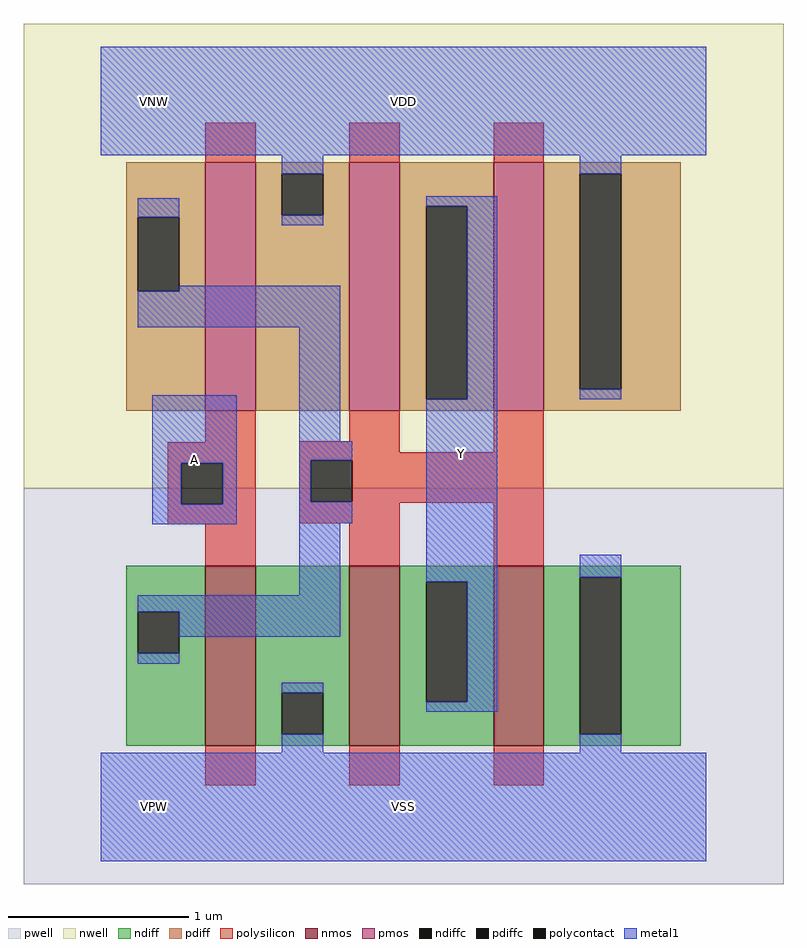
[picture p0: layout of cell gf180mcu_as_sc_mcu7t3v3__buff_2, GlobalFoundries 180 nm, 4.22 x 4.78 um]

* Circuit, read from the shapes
.subckt gf180mcu_as_sc_mcu7t3v3__buff_2 VDD VNW VPW VSS A Y
XM1 VSS A n1 VPW nfet_03v3 w=1u l=0.28u
XM2 Y n1 VSS VPW nfet_03v3 w=1u l=0.28u m=2
XM3 VDD A n1 VNW pfet_03v3 w=1.38u l=0.28u
XM4 Y n1 VDD VNW pfet_03v3 w=1.38u l=0.28u m=2
.ends

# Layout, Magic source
magic
tech gf180mcuD
magscale 1 10
<< nwell >>
rect -86 354 758 870
<< pwell >>
rect -86 -86 758 354
<< nmos >>
rect 116 68 172 268
rect 276 68 332 268
rect 436 68 492 268
<< pmos >>
rect 116 440 172 716
rect 276 440 332 716
rect 436 440 492 716
<< ndiff >>
rect 28 217 116 268
rect 28 171 41 217
rect 87 171 116 217
rect 28 68 116 171
rect 172 127 276 268
rect 172 81 201 127
rect 247 81 276 127
rect 172 68 276 81
rect 332 250 436 268
rect 332 117 361 250
rect 407 117 436 250
rect 332 68 436 117
rect 492 255 644 268
rect 492 81 532 255
rect 578 81 644 255
rect 492 68 644 81
<< pdiff >>
rect 28 655 116 716
rect 28 573 41 655
rect 87 573 116 655
rect 28 440 116 573
rect 172 703 276 716
rect 172 657 201 703
rect 247 657 276 703
rect 172 440 276 657
rect 332 667 436 716
rect 332 453 361 667
rect 407 453 436 667
rect 332 440 436 453
rect 492 703 644 716
rect 492 464 532 703
rect 578 464 644 703
rect 492 440 644 464
<< ndiffc >>
rect 41 171 87 217
rect 201 81 247 127
rect 361 117 407 250
rect 532 81 578 255
<< pdiffc >>
rect 41 573 87 655
rect 201 657 247 703
rect 361 453 407 667
rect 532 464 578 703
<< polysilicon >>
rect 116 716 172 760
rect 276 716 332 760
rect 436 716 492 760
rect 116 405 172 440
rect 276 406 332 440
rect 74 382 172 405
rect 74 336 89 382
rect 135 336 172 382
rect 74 314 172 336
rect 220 394 332 406
rect 436 394 492 440
rect 220 385 492 394
rect 220 339 233 385
rect 279 339 492 385
rect 220 338 492 339
rect 220 315 332 338
rect 116 268 172 314
rect 276 268 332 315
rect 436 268 492 338
rect 116 24 172 68
rect 276 24 332 68
rect 436 24 492 68
<< polycontact >>
rect 89 336 135 382
rect 233 339 279 385
<< metal1 >>
rect 0 724 672 844
rect 201 703 247 724
rect 41 655 87 676
rect 532 703 578 724
rect 201 646 247 657
rect 361 667 440 678
rect 87 573 266 579
rect 41 533 266 573
rect 57 382 151 457
rect 57 336 89 382
rect 135 336 151 382
rect 57 314 151 336
rect 220 406 266 533
rect 407 453 440 667
rect 532 453 578 464
rect 220 385 279 406
rect 220 339 233 385
rect 220 315 279 339
rect 220 235 266 315
rect 41 217 266 235
rect 87 189 266 217
rect 361 250 440 453
rect 41 159 87 171
rect 201 127 247 138
rect 407 117 440 250
rect 361 106 440 117
rect 532 255 578 280
rect 201 60 247 81
rect 532 60 578 81
rect 0 -60 672 60
<< labels >>
flabel metal1 s 0 724 672 844 0 FreeSans 400 0 0 0 VDD
port 1 nsew power bidirectional abutment
flabel metal1 s 0 -60 672 60 0 FreeSans 400 0 0 0 VSS
port 4 nsew ground bidirectional abutment
flabel nwell s 10 734 110 834 0 FreeSans 400 0 0 0 VNW
port 2 nsew power bidirectional
flabel pwell s 10 -50 110 50 0 FreeSans 400 0 0 0 VPW
port 3 nsew ground bidirectional
flabel metal1 57 314 151 457 0 FreeSans 200 0 0 0 A
port 5 nsew signal input
flabel metal1 361 106 440 678 0 FreeSans 200 0 0 0 Y
port 6 nsew signal output
<< properties >>
string FIXED_BBOX 0 0 672 784
string LEFclass CORE
string LEFsite unithd
string LEFsymmetry X Y
string MASKHINTS_NPLUS -16 -46 688 354
string MASKHINTS_PPLUS -16 354 688 830
<< end >>
